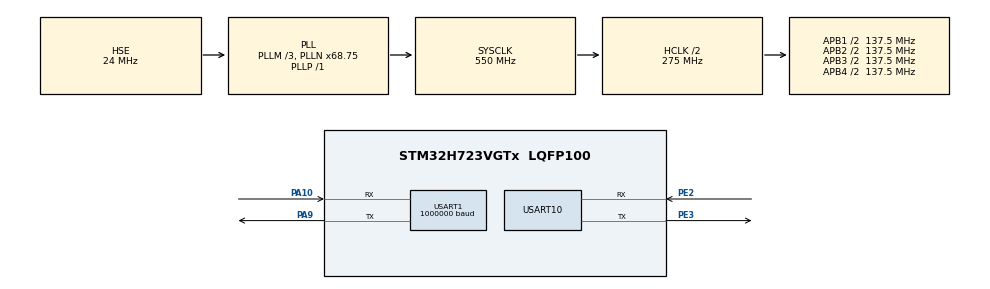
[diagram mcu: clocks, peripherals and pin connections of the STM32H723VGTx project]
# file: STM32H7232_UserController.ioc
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CORTEX_M7.default_mode_Activation=1
Dma.Request0=USART10_TX
Dma.USART10_TX.0.Direction=DMA_MEMORY_TO_PERIPH
Dma.USART10_TX.0.EventEnable=DISABLE
Dma.USART10_TX.0.FIFOMode=DMA_FIFOMODE_DISABLE
Dma.USART10_TX.0.Instance=DMA1_Stream0
Dma.USART10_TX.0.MemDataAlignment=DMA_MDATAALIGN_BYTE
Dma.USART10_TX.0.MemInc=DMA_MINC_ENABLE
Dma.USART10_TX.0.Mode=DMA_NORMAL
Dma.USART10_TX.0.PeriphDataAlignment=DMA_PDATAALIGN_BYTE
Dma.USART10_TX.0.PeriphInc=DMA_PINC_DISABLE
Dma.USART10_TX.0.Polarity=HAL_DMAMUX_REQ_GEN_RISING
Dma.USART10_TX.0.Priority=DMA_PRIORITY_LOW
Dma.USART10_TX.0.RequestNumber=1
Dma.USART10_TX.0.SignalID=NONE
Dma.USART10_TX.0.SyncEnable=DISABLE
Dma.USART10_TX.0.SyncPolarity=HAL_DMAMUX_SYNC_NO_EVENT
Dma.USART10_TX.0.SyncRequestNumber=1
Dma.USART10_TX.0.SyncSignalID=NONE
FREERTOS.Tasks01=AlgorithmTask,45,2048,AlgorithmTask_Entry,As weak,NULL,Dynamic,NULL,NULL;UartTask,24,1024,SendTask_Entry,As weak,NULL,Dynamic,NULL,NULL
FREERTOS.configENABLE_FPU=1
FREERTOS.configTOTAL_HEAP_SIZE=76800
FREERTOS.configUSE_NEWLIB_REENTRANT=1
Mcu.Family=STM32H7
Mcu.Name=STM32H723VGTx
Mcu.Package=LQFP100
NVIC.DMA1_Stream0_IRQn=true\:5\:0\:false\:false\:true\:true\:false\:true\:true
NVIC.PriorityGroup=NVIC_PRIORITYGROUP_4
NVIC.TIM6_DAC_IRQn=true\:15\:0\:false\:false\:true\:false\:false\:true\:true
NVIC.TimeBase=TIM6_DAC_IRQn
NVIC.TimeBaseIP=TIM6
PA10.Mode=Asynchronous
PA10.Signal=USART1_RX
PA13(JTMS/SWDIO).Mode=Serial_Wire
PA13(JTMS/SWDIO).Signal=DEBUG_JTMS-SWDIO
PA14(JTCK/SWCLK).Mode=Serial_Wire
PA14(JTCK/SWCLK).Signal=DEBUG_JTCK-SWCLK
PA9.Mode=Asynchronous
PA9.Signal=USART1_TX
PC14-OSC32_IN.Mode=LSE-External-Oscillator
PC14-OSC32_IN.Signal=RCC_OSC32_IN
PC15-OSC32_OUT.Mode=LSE-External-Oscillator
PC15-OSC32_OUT.Signal=RCC_OSC32_OUT
PE2.Mode=Asynchronous
PE2.Signal=USART10_RX
PE3.Mode=Asynchronous
PE3.Signal=USART10_TX
PH0-OSC_IN.Mode=HSE-External-Oscillator
PH0-OSC_IN.Signal=RCC_OSC_IN
PH1-OSC_OUT.Mode=HSE-External-Oscillator
PH1-OSC_OUT.Signal=RCC_OSC_OUT
ProjectManager.HeapSize=0x200
ProjectManager.StackSize=0x400
ProjectManager.TargetToolchain=STM32CubeIDE
RCC.ADCFreq_Value=48375000
RCC.APB1Freq_Value=137500000
RCC.APB2Freq_Value=137500000
RCC.APB3Freq_Value=137500000
RCC.APB4Freq_Value=137500000
RCC.CortexFreq_Value=550000000
RCC.D1PPRE=RCC_APB3_DIV2
RCC.D2PPRE1=RCC_APB1_DIV2
RCC.D2PPRE2=RCC_APB2_DIV2
RCC.D3PPRE=RCC_APB4_DIV2
RCC.DIVM1=3
RCC.DIVN1=68
RCC.DIVP1=1
RCC.HCLKFreq_Value=275000000
RCC.HPRE=RCC_HCLK_DIV2
RCC.HSE_VALUE=24000000
RCC.PLL2FRACN=0
RCC.PLL3FRACN=0
RCC.PLLFRACN=6144
RCC.PLLSourceVirtual=RCC_PLLSOURCE_HSE
RCC.SYSCLKFreq_VALUE=550000000
RCC.SYSCLKSource=RCC_SYSCLKSOURCE_PLLCLK
RCC.USBFreq_Value=275000000
USART1.BaudRate=1000000
USART1.VirtualMode-Asynchronous=VM_ASYNC
USART10.VirtualMode=VM_ASYNC
VP_FREERTOS_VS_CMSIS_V2.Mode=CMSIS_V2
VP_MEMORYMAP_VS_MEMORYMAP.Mode=CurAppReg
VP_SYS_VS_tim6.Mode=TIM6
board=custom

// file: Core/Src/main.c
/* USER CODE BEGIN Header */
/**
 ******************************************************************************
 * @file           : main.c
 * @brief          : Main program body
 ******************************************************************************
 * @attention
 *
 * Copyright (c) 2026 STMicroelectronics.
 * All rights reserved.
 *
 * This software is licensed under terms that can be found in the LICENSE file
 * in the root directory of this software component.
 * If no LICENSE file comes with this software, it is provided AS-IS.
 *
 ******************************************************************************
 */
/* USER CODE END Header */
#include "main.h"
#include "cmsis_os.h"
#include "dma.h"
#include "usart.h"
#include "gpio.h"

/* USER CODE BEGIN Includes */
#include "robot.h"
#include "usb_device.h"   /* MX_USB_DEVICE_Init() —— USB CDC 虚拟串口 */
/* USER CODE END Includes */

void SystemClock_Config(void);
static void MPU_Config(void);
void MX_FREERTOS_Init(void);

int main(void)
{

  /* MPU Configuration--------------------------------------------------------*/
  MPU_Config();

  /* MCU Configuration--------------------------------------------------------*/

  /* Reset of all peripherals, Initializes the Flash interface and the Systick. */
  HAL_Init();

  /* Configure the system clock */
  SystemClock_Config();

  /* Initialize all configured peripherals */
  MX_GPIO_Init();
  MX_DMA_Init();
  MX_USART1_UART_Init();
  MX_USART10_UART_Init();
  /* USER CODE BEGIN 2 */
  /* ★ USB CDC 虚拟串口初始化（PC ↔ 主臂板），全工程【只允许调用这一处】。
   * 车端工程里它在 main.c 和 freertos.c 各调了一次，重复调用会让 USBD 句柄被反复重置。 */
  MX_USB_DEVICE_Init();

  /* ★★ 使能板上"对外 5V"输出 —— 达妙 DM-MC02(DM-MC-Board02) 必须显式使能 ★★
   *
   * 依据（官方资料）：
   *   · 说明书《DM-MC-Board02 电机开发板使用说明书 V1.0》§7 PWM 接口原文：
   *     "为这 4 路 PWM 一起提供高达 5V@2A 驱动能力的电源（**该电源为可控，需使能输出后使用**）"；
   *   · §1 电源树："一路可控 DCDC 5V 输出，用于给 **4 路 PWM、一路串口和一路 CAN 接口**供电"；
   *   · 官方原理图：对外 5V 由 DCDC(U10) 产生，其 ENA 由 MCU 信号 `Power_5V_EN` 控制；
   *   · 官方 BSP（yssickjgd/damiao_mc02_bsp, bsp_power.h）定义：
   *         DC5__OUTPUT_GPIO_Port = GPIOC,  DC5__OUTPUT_Pin = GPIO_PIN_15
   *     即 **PC15 = 高  →  对外 5V 开启**；PC14/PC13 对应两路可控 24V 输出。
   *
   * 现象对照：未使能时该 5V 轨不输出，用万用表量 PWM/串口排针的 VCC 只有约 2.1V
   *           （由 MCU 的 TX 等引脚经保护二极管"倒灌"形成的幻电压），
   *           外接模块（无线串口模块等）因无供电而完全不工作。
   *
   * 注：PC13/PC14（DA24V_0/1）为两路可控 24V 输出，本控制器未使用 —— 一并配成推挽输出并保持低电平，
   *     避免引脚悬空导致 PMOS 栅极状态不确定。 */
  __HAL_RCC_GPIOC_CLK_ENABLE();
  {
    GPIO_InitTypeDef power_en = {0};
    power_en.Mode  = GPIO_MODE_OUTPUT_PP;
    power_en.Pull  = GPIO_NOPULL;
    power_en.Speed = GPIO_SPEED_FREQ_LOW;

    power_en.Pin = GPIO_PIN_13 | GPIO_PIN_14 | GPIO_PIN_15; /* DC24_1 / DC24_0 / DC5 */
    HAL_GPIO_Init(GPIOC, &power_en);

    HAL_GPIO_WritePin(GPIOC, GPIO_PIN_13, GPIO_PIN_RESET);  /* 24V_OUT1 关 */
    HAL_GPIO_WritePin(GPIOC, GPIO_PIN_14, GPIO_PIN_RESET);  /* 24V_OUT2 关 */
    HAL_GPIO_WritePin(GPIOC, GPIO_PIN_15, GPIO_PIN_SET);    /* ★ 对外 5V 开 */
  }

  /* ★ KEY 按键(PA15)：达妙板载按键，配成输入。
   * 功能：按一次 → 六路舵机扭矩使能(锁死)；再按一次 → 失能(回到自由态)。
   * 实际扫描在 AlgorithmTask 里做（见 algorithm_task.c），这里只做引脚配置。
   * 电平极性由 STS_Module.h 的 STS3215_KEY_ACTIVE_LOW 决定，两种极性都已在代码里备好。 */
  sts3215_key_init();

  robot_init();
  /* USER CODE END 2 */

  /* Init scheduler */
  osKernelInitialize();  /* Call init function for freertos objects (in cmsis_os2.c) */
  MX_FREERTOS_Init();

  /* Start scheduler */
  osKernelStart();

  /* We should never get here as control is now taken by the scheduler */

  /* Infinite loop */
  while (1)
  {

  }
}

void SystemClock_Config(void)
{
  RCC_OscInitTypeDef RCC_OscInitStruct = {0};
  RCC_ClkInitTypeDef RCC_ClkInitStruct = {0};

  /** Supply configuration update enable
  */
  HAL_PWREx_ConfigSupply(PWR_LDO_SUPPLY);

  /** Configure the main internal regulator output voltage
  */
  __HAL_PWR_VOLTAGESCALING_CONFIG(PWR_REGULATOR_VOLTAGE_SCALE0);

  while(!__HAL_PWR_GET_FLAG(PWR_FLAG_VOSRDY)) {}

  /** Initializes the RCC Oscillators according to the specified parameters
  * in the RCC_OscInitTypeDef structure.
  */
  /* ★★ HSI48 必须打开 —— 这是 USB OTG HS 在 48MHz 上的时钟源 ★★
   * 依据：usbd_conf.c 的 HAL_PCD_MspInit() 里写的是
   *         PeriphClkInitStruct.PeriphClockSelection = RCC_PERIPHCLK_USB;
   *         PeriphClkInitStruct.UsbClockSelection     = RCC_USBCLKSOURCE_HSI48;
   *       即把 USB 时钟 mux 切到 HSI48。若 HSI48 没使能，等于选了个不跑的时钟，
   *       USB 不会枚举（PC 上不出现 COM 口），而且 HAL 不一定报错 —— 极难排查。
   * 注：HSI48 是芯片内部 RC 振荡器，配合内置 FS PHY 使用，不需要外部晶振/外部 PHY/额外引脚。
   *     （车端 Engineering_Robot_H723_ 也是这么配的，已验证可用。） */
  RCC_OscInitStruct.OscillatorType = RCC_OSCILLATORTYPE_HSI48|RCC_OSCILLATORTYPE_HSE;
  RCC_OscInitStruct.HSEState = RCC_HSE_ON;
  RCC_OscInitStruct.HSI48State = RCC_HSI48_ON;
  RCC_OscInitStruct.PLL.PLLState = RCC_PLL_ON;
  RCC_OscInitStruct.PLL.PLLSource = RCC_PLLSOURCE_HSE;
  RCC_OscInitStruct.PLL.PLLM = 3;
  RCC_OscInitStruct.PLL.PLLN = 68;
  RCC_OscInitStruct.PLL.PLLP = 1;
  RCC_OscInitStruct.PLL.PLLQ = 2;
  RCC_OscInitStruct.PLL.PLLR = 2;
  RCC_OscInitStruct.PLL.PLLRGE = RCC_PLL1VCIRANGE_3;
  RCC_OscInitStruct.PLL.PLLVCOSEL = RCC_PLL1VCOWIDE;
  RCC_OscInitStruct.PLL.PLLFRACN = 6144;
  if (HAL_RCC_OscConfig(&RCC_OscInitStruct) != HAL_OK)
  {
    Error_Handler();
  }

  /** Initializes the CPU, AHB and APB buses clocks
  */
  RCC_ClkInitStruct.ClockType = RCC_CLOCKTYPE_HCLK|RCC_CLOCKTYPE_SYSCLK
                              |RCC_CLOCKTYPE_PCLK1|RCC_CLOCKTYPE_PCLK2
                              |RCC_CLOCKTYPE_D3PCLK1|RCC_CLOCKTYPE_D1PCLK1;
  RCC_ClkInitStruct.SYSCLKSource = RCC_SYSCLKSOURCE_PLLCLK;
  RCC_ClkInitStruct.SYSCLKDivider = RCC_SYSCLK_DIV1;
  RCC_ClkInitStruct.AHBCLKDivider = RCC_HCLK_DIV2;
  RCC_ClkInitStruct.APB3CLKDivider = RCC_APB3_DIV2;
  RCC_ClkInitStruct.APB1CLKDivider = RCC_APB1_DIV2;
  RCC_ClkInitStruct.APB2CLKDivider = RCC_APB2_DIV2;
  RCC_ClkInitStruct.APB4CLKDivider = RCC_APB4_DIV2;

  if (HAL_RCC_ClockConfig(&RCC_ClkInitStruct, FLASH_LATENCY_3) != HAL_OK)
  {
    Error_Handler();
  }
}

 /* MPU Configuration */

void MPU_Config(void)
{
  MPU_Region_InitTypeDef MPU_InitStruct = {0};

  /* Disables the MPU */
  HAL_MPU_Disable();

  /** Initializes and configures the Region and the memory to be protected
  */
  MPU_InitStruct.Enable = MPU_REGION_ENABLE;
  MPU_InitStruct.Number = MPU_REGION_NUMBER0;
  MPU_InitStruct.BaseAddress = 0x0;
  MPU_InitStruct.Size = MPU_REGION_SIZE_4GB;
  MPU_InitStruct.SubRegionDisable = 0x87;
  MPU_InitStruct.TypeExtField = MPU_TEX_LEVEL0;
  MPU_InitStruct.AccessPermission = MPU_REGION_NO_ACCESS;
  MPU_InitStruct.DisableExec = MPU_INSTRUCTION_ACCESS_DISABLE;
  MPU_InitStruct.IsShareable = MPU_ACCESS_SHAREABLE;
  MPU_InitStruct.IsCacheable = MPU_ACCESS_NOT_CACHEABLE;
  MPU_InitStruct.IsBufferable = MPU_ACCESS_NOT_BUFFERABLE;

  HAL_MPU_ConfigRegion(&MPU_InitStruct);
  /* Enables the MPU */
  HAL_MPU_Enable(MPU_PRIVILEGED_DEFAULT);

}

void HAL_TIM_PeriodElapsedCallback(TIM_HandleTypeDef *htim)
{
  if (htim->Instance == TIM6)
  {
    HAL_IncTick();
  }
}

void Error_Handler(void)
{
  __disable_irq();
  while (1)
  {
  }
}

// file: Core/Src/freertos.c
/* USER CODE BEGIN Header */
/**
  ******************************************************************************
  * File Name          : freertos.c
  * Description        : Code for freertos applications
  ******************************************************************************
  * @attention
  *
  * Copyright (c) 2026 STMicroelectronics.
  * All rights reserved.
  *
  * This software is licensed under terms that can be found in the LICENSE file
  * in the root directory of this software component.
  * If no LICENSE file comes with this software, it is provided AS-IS.
  *
  ******************************************************************************
  */
/* USER CODE END Header */

#include "FreeRTOS.h"
#include "task.h"
#include "main.h"
#include "cmsis_os.h"

/* Definitions for AlgorithmTask */
osThreadId_t AlgorithmTaskHandle;
const osThreadAttr_t AlgorithmTask_attributes = {
  .name = "AlgorithmTask",
  .stack_size = 2048 * 4,
  .priority = (osPriority_t) osPriorityHigh5,
};
/* Definitions for UartTask */
osThreadId_t UartTaskHandle;
const osThreadAttr_t UartTask_attributes = {
  .name = "UartTask",
  .stack_size = 1024 * 4,
  .priority = (osPriority_t) osPriorityNormal,
};

void AlgorithmTask_Entry(void *argument);
void SendTask_Entry(void *argument);

void MX_FREERTOS_Init(void); /* (MISRA C 2004 rule 8.1) */

void MX_FREERTOS_Init(void) {

  /* Create the thread(s) */
  /* creation of AlgorithmTask */
  AlgorithmTaskHandle = osThreadNew(AlgorithmTask_Entry, NULL, &AlgorithmTask_attributes);

  /* creation of UartTask */
  UartTaskHandle = osThreadNew(SendTask_Entry, NULL, &UartTask_attributes);

}

__weak void AlgorithmTask_Entry(void *argument)
{
  for(;;)
  {
    osDelay(1);
  }
}

__weak void SendTask_Entry(void *argument)
{
  for(;;)
  {
    osDelay(1);
  }
}
